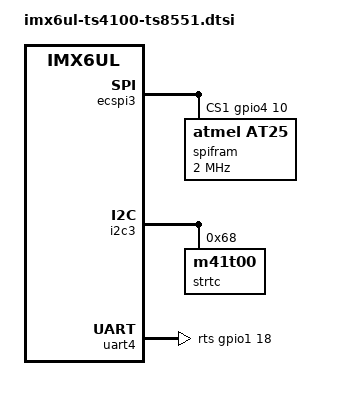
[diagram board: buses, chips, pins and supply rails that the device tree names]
/*
 * Copyright (C) 2018-2022 Technologic Systems, Inc. dba embeddedTS
 *
 * This program is free software; you can redistribute it and/or modify
 * it under the terms of the GNU General Public License version 2 as
 * published by the Free Software Foundation.
 */

#include <dt-bindings/input/input.h>

/* Requires more CS GPIO and updated pinctrl? */
&ecspi3 {
	fsl,spi-num-chipselects = <2>;
	cs-gpios = <&gpio4 12 0>, <&gpio4 10 0>;
	pinctrl-names = "default";
	pinctrl-0 = <&pinctrl_ecspi3>;
	status = "okay";

        spifram: spi@1 {
                compatible = "atmel,at25", "cypress,fm25l16b";
                reg = <1>;
                spi-max-frequency = <2000000>;
                size = <0x800>;
                address-width = <16>;
                pagesize = <64>;
        };

};

&can2 {
	status = "disabled";
};

&i2c3 {
	strtc: m41t00s@68 {
		compatible = "m41t00";
		reg = <0x68>;
	};
};

&snvs_rtc {
	status = "disabled";
};

&snvs_poweroff {
	status = "disabled";
};

&uart4 {
	uart-has-rtscts;
	/* gpio 1_18 is initialized by the hog group in 4100.dtsi
	 * It is the SPARE_1 pin, needs to be set up in FPGA to pass to TXEN
	 * with the command 'tshwctl --out 0x31 --in 0x1'
	 */
	rts-gpios = <&gpio1 18 GPIO_ACTIVE_HIGH>;
	dma-names = "", "";
	linux,rs485-enabled-at-boot-time;
};

&iomuxc {
	pinctrl-names = "default";
	pinctrl-0 = <&ts4100_pinctrl_hog &pinctrl_cam_gpio &pinctrl_lcd_gpio>;
};
